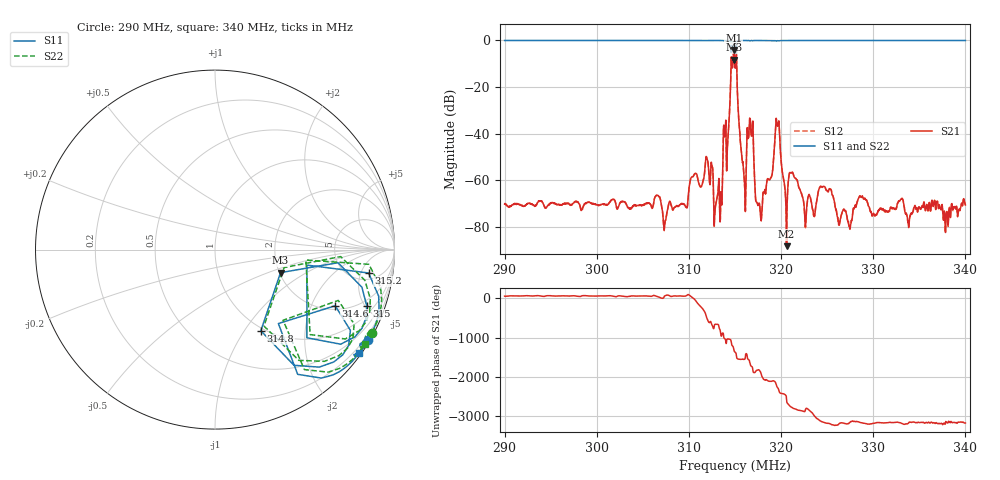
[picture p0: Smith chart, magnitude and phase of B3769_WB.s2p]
! Matrix data file written by TouchstoneData, EPCOS AG
! FILENAME: "newformat_B3769_WB.s2p"
! COMMENT: "16 Nov 2004 S11-NoP:1601;Caltype:FULL2PORT;P"
! INFO: nport=2, nfreq=1601
! DATE: "Wed Sep 19 15:23:16 2012"
! USER: "Wilfried Schott"
! port | pin | signal
!  1  |  2  |  IN
!  2  |  5  |  OUT
# MHZ S MA R 50
! freq  magS11 angS11  magS21 angS21  magS12 angS12  magS22 angS22
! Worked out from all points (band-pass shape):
!   1601 points, 290 MHz to 340 MHz, reference 50 ohm
!   highest |S21| = -4.26 dB at 314.9 MHz (marker M1); lowest = -88.2 dB at 320.6 MHz (marker M2)
!   |S21| within 3 dB of the highest: 314.8131 MHz to 314.9212 MHz (108.1 kHz wide, 0.0343 % of centre); 315.123 MHz to 315.1629 MHz (39.88 kHz wide, 0.0127 % of centre) (the widest 2 of 3)
!   lowest |S11| = -8.2 dB at 314.9 MHz (marker M3), VSWR 2.26, Z = 101 - j30.6 ohm
!   |S11| at or under -10 dB: nowhere
!   |S22| runs from -8.0 to -0.1 dB; largest |S21 - S12| = 0.0024
!   S11 on the Smith chart (normalised r, x): 290 MHz: 0.06, -3.65; 314.6 MHz: 2.19, -3.02; 314.8 MHz: 0.96, -1.19; 315 MHz: 1.53, -5.14; 315.2 MHz: 6.63, -6.90; 340 MHz: 0.06, -3.12
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290  0.9914 -30.6  0.0003123 59.3  0.0003219 59.8  0.9914 -27.9
298.3438  0.991 -31.6  0.0002351 62.6  0.0002343 62.8  0.9908 -28.8
306.6875  0.9901 -32.7  0.0004621 39.3  0.0004637 38.9  0.9897 -29.8
307.4062  0.9902 -32.8  0.0001264 67.3  0.0001206 68.1  0.9899 -29.9
311.9375  0.9865 -33.9  0.003018 -135.6  0.003009 -135.5  0.9859 -31.0
313.3438  0.9897 -35.3  0.0001987 -64.1  0.0001933 -61.9  0.9888 -32.3
314.625  0.7393 -25.0  0.3959 -88.4  0.3945 -88.5  0.7428 -22.4
314.8438  0.5192 -60.5  0.5854 174.2  0.5856 174.1  0.5056 -57.3
314.875  0.387 -19.4  0.6125 138.8  0.6117 138.7  0.3976 -14.6
314.9688  0.9017 -20.3  0.2984 76.2  0.2974 76.3  0.9073 -17.5
315  0.9237 -24.6  0.2625 69.0  0.2618 69.1  0.9283 -21.8
315.1875  0.8657 -8.7  0.263 -75.9  0.2615 -75.9  0.8611 -5.5
315.9688  0.9906 -30.4  0.001326 -115.6  0.001331 -115.2  0.9904 -27.4
316.75  0.9876 -31.4  0.009647 72.7  0.009622 72.9  0.9876 -28.4
317.3125  0.9894 -32.0  0.000346 -41.5  0.0003361 -41.6  0.9891 -29.0
317.75  0.9889 -32.4  0.0002 -69.8  0.0002001 -68.2  0.9887 -29.4
319.5938  0.9802 -32.6  0.01477 -108.9  0.01473 -108.8  0.9811 -29.7
320.5938  0.9869 -32.9  3.905e-05 -62.4  3.951e-05 -70.7  0.9864 -30.0
321.125  0.9878 -33.0  0.001437 103.9  0.001442 104.2  0.9865 -30.0
323.3438  0.9894 -33.5  0.0002898 -35.3  0.0002872 -35.6  0.989 -30.4
331.6875  0.9904 -34.6  0.0002214 71.6  0.0002218 71.7  0.9895 -31.5
340  0.9895 -35.6  0.0002984 58.3  0.0002935 58.6  0.9882 -32.3
